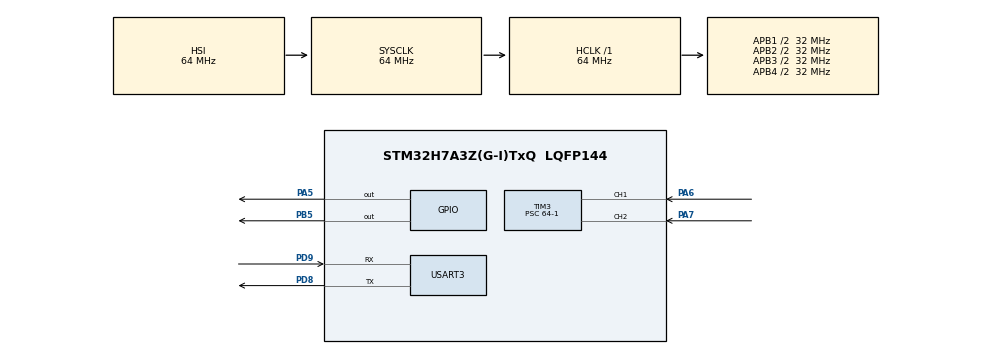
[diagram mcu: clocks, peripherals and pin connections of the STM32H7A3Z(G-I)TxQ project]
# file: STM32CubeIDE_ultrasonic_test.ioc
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Mcu.Family=STM32H7
Mcu.Name=STM32H7A3Z(G-I)TxQ
Mcu.Package=LQFP144
NVIC.PriorityGroup=NVIC_PRIORITYGROUP_4
NVIC.TIM3_IRQn=true\:0\:0\:false\:false\:true\:true\:true
PA5.Signal=GPIO_Output
PA6.Signal=S_TIM3_CH1
PA7.Signal=S_TIM3_CH2
PB5.Signal=GPIO_Output
PD8.Mode=Asynchronous
PD8.Signal=USART3_TX
PD9.Mode=Asynchronous
PD9.Signal=USART3_RX
PH0-OSC_IN.Mode=HSE-External-Oscillator
PH0-OSC_IN.Signal=RCC_OSC_IN
PH1-OSC_OUT.Mode=HSE-External-Oscillator
PH1-OSC_OUT.Signal=RCC_OSC_OUT
ProjectManager.HeapSize=0x200
ProjectManager.StackSize=0x400
ProjectManager.TargetToolchain=STM32CubeIDE
RCC.ADCFreq_Value=129000000
RCC.APB1Freq_Value=32000000
RCC.APB2Freq_Value=32000000
RCC.APB3Freq_Value=32000000
RCC.APB4Freq_Value=32000000
RCC.CDPPRE=RCC_APB3_DIV2
RCC.CDPPRE1=RCC_APB1_DIV2
RCC.CDPPRE2=RCC_APB2_DIV2
RCC.CortexFreq_Value=64000000
RCC.HCLKFreq_Value=64000000
RCC.SRDPPRE=RCC_APB4_DIV2
RCC.SYSCLKFreq_VALUE=64000000
RCC.USBFreq_Value=129000000
SH.S_TIM3_CH1.0=TIM3_CH1,Input_Capture1_from_TI1
SH.S_TIM3_CH2.0=TIM3_CH2,Input_Capture2_from_TI2
TIM3.Channel-Input_Capture1_from_TI1=TIM_CHANNEL_1
TIM3.Channel-Input_Capture2_from_TI2=TIM_CHANNEL_2
TIM3.Period=0xffff-1
TIM3.Prescaler=64-1
USART3.VirtualMode-Asynchronous=VM_ASYNC
VP_TIM3_VS_ClockSourceINT.Mode=Internal
board=custom

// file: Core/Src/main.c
/* USER CODE BEGIN Header */
/**
  ******************************************************************************
  * @file           : main.c
  * @brief          : Main program body
  ******************************************************************************
  * @attention
  *
  * Copyright (c) 2023 STMicroelectronics.
  * All rights reserved.
  *
  * This software is licensed under terms that can be found in the LICENSE file
  * in the root directory of this software component.
  * If no LICENSE file comes with this software, it is provided AS-IS.
  *
  ******************************************************************************
  */
/* USER CODE END Header */
#include "main.h"
#include "tim.h"
#include "usart.h"
#include "gpio.h"

/* USER CODE BEGIN Includes */
#include <stdio.h>
/* USER CODE END Includes */

/* USER CODE BEGIN PD */
#define TRIG_PIN1 GPIO_PIN_5
#define TRIG_PORT1 GPIOA

#define TRIG_PIN2 GPIO_PIN_5
#define TRIG_PORT2 GPIOB
/* USER CODE END PD */

/* USER CODE BEGIN PM */
#ifdef __GNUC__
  /* With GCC, small printf (option LD Linker->Libraries->Small printf
     set to 'Yes') calls __io_putchar() */
  #define PUTCHAR_PROTOTYPE int __io_putchar(int ch)
#else
  #define PUTCHAR_PROTOTYPE int fputc(int ch, FILE *f)
#endif /* __GNUC__ */

PUTCHAR_PROTOTYPE
{
  /* Place your implementation of fputc here */
  /* e.g. write a character to the EVAL_COM1 and Loop until the end of transmission */
  HAL_UART_Transmit(&huart3, (uint8_t *)&ch, 1, 0xFFFF);

  return ch;
}
/* USER CODE END PM */

/* USER CODE BEGIN PV */
uint32_t IC_Val1_1 = 0;
uint32_t IC_Val1_2 = 0;
uint32_t Difference1 = 0;
uint8_t Is_First_Captured1 = 0;  // is the first value captured ?
uint8_t Distance1  = 0;

uint32_t IC_Val2_1 = 0;
uint32_t IC_Val2_2 = 0;
uint32_t Difference2 = 0;
uint8_t Is_First_Captured2 = 0;  // is the first value captured ?
uint8_t Distance2  = 0;
/* USER CODE END PV */

void SystemClock_Config(void);
/* USER CODE BEGIN PFP */
void delay (uint16_t time)
{
	__HAL_TIM_SET_COUNTER(&htim3, 0);
	while (__HAL_TIM_GET_COUNTER (&htim3) < time);
}

void HAL_TIM_IC_CaptureCallback1(TIM_HandleTypeDef *htim)
{
	if (htim->Channel == HAL_TIM_ACTIVE_CHANNEL_1)  // if the interrupt source is channel1
	{
		if (Is_First_Captured1==0) // if the first value is not captured
		{
			IC_Val1_1 = HAL_TIM_ReadCapturedValue(htim, TIM_CHANNEL_1); // read the first value
			Is_First_Captured1 = 1;  // set the first captured as true
			// Now change the polarity to falling edge
			__HAL_TIM_SET_CAPTUREPOLARITY(htim, TIM_CHANNEL_1, TIM_INPUTCHANNELPOLARITY_FALLING);
		}

		else if (Is_First_Captured1==1)   // if the first is already captured
		{
			IC_Val1_2 = HAL_TIM_ReadCapturedValue(htim, TIM_CHANNEL_1);  // read second value
			__HAL_TIM_SET_COUNTER(htim, 0);  // reset the counter

			if (IC_Val1_2 > IC_Val1_1)
			{
				Difference1 = IC_Val1_2-IC_Val1_1;
			}

			else if (IC_Val1_1 > IC_Val1_2)
			{
				Difference1 = (0xffff - IC_Val1_1) + IC_Val1_2;
			}

			Distance1 = Difference1 * .034/2;
			Is_First_Captured1 = 0; // set it back to false

			// set polarity to rising edge
			__HAL_TIM_SET_CAPTUREPOLARITY(htim, TIM_CHANNEL_1, TIM_INPUTCHANNELPOLARITY_RISING);
			__HAL_TIM_DISABLE_IT(&htim3, TIM_IT_CC1);
		}
	}
}

void HCSR04_Read1 (void)
{
	HAL_GPIO_WritePin(TRIG_PORT1, TRIG_PIN1, GPIO_PIN_SET);  // pull the TRIG pin HIGH
	delay(10);  // wait for 10 us
	HAL_GPIO_WritePin(TRIG_PORT1, TRIG_PIN1, GPIO_PIN_RESET);  // pull the TRIG pin low

	__HAL_TIM_ENABLE_IT(&htim3, TIM_IT_CC1);
}

////////////////////////////////////////////////////////////////////////////////////////////////////////////////////////////

void HAL_TIM_IC_CaptureCallback2(TIM_HandleTypeDef *htim)
{
	if (htim->Channel == HAL_TIM_ACTIVE_CHANNEL_2)  // if the interrupt source is channel1
	{
		if (Is_First_Captured2==0) // if the first value is not captured
		{
			IC_Val2_1 = HAL_TIM_ReadCapturedValue(htim, TIM_CHANNEL_1); // read the first value
			Is_First_Captured2 = 1;  // set the first captured as true
			// Now change the polarity to falling edge
			__HAL_TIM_SET_CAPTUREPOLARITY(htim, TIM_CHANNEL_1, TIM_INPUTCHANNELPOLARITY_FALLING);
		}

		else if (Is_First_Captured1==1)   // if the first is already captured
		{
			IC_Val2_2 = HAL_TIM_ReadCapturedValue(htim, TIM_CHANNEL_1);  // read second value
			__HAL_TIM_SET_COUNTER(htim, 0);  // reset the counter

			if (IC_Val2_2 > IC_Val2_1)
			{
				Difference2 = IC_Val2_2-IC_Val2_1;
			}

			else if (IC_Val2_1 > IC_Val2_2)
			{
				Difference2 = (0xffff - IC_Val2_1) + IC_Val2_2;
			}

			Distance2 = Difference2 * .034/2;
			Is_First_Captured1 = 0; // set it back to false

			// set polarity to rising edge
			__HAL_TIM_SET_CAPTUREPOLARITY(htim, TIM_CHANNEL_2, TIM_INPUTCHANNELPOLARITY_RISING);
			__HAL_TIM_DISABLE_IT(&htim3, TIM_IT_CC1);
		}
	}
}

void HCSR04_Read2 (void)
{
	HAL_GPIO_WritePin(TRIG_PORT2, TRIG_PIN2, GPIO_PIN_SET);  // pull the TRIG pin HIGH
	delay(10);  // wait for 10 us
	HAL_GPIO_WritePin(TRIG_PORT2, TRIG_PIN2, GPIO_PIN_RESET);  // pull the TRIG pin low

	__HAL_TIM_ENABLE_IT(&htim3, TIM_IT_CC1);
}
/* USER CODE END PFP */

int main(void)
{

  /* MCU Configuration--------------------------------------------------------*/

  /* Reset of all peripherals, Initializes the Flash interface and the Systick. */
  HAL_Init();

  /* Configure the system clock */
  SystemClock_Config();

  /* Initialize all configured peripherals */
  MX_GPIO_Init();
  MX_TIM3_Init();
  MX_USART3_UART_Init();
  /* USER CODE BEGIN 2 */
  HAL_TIM_IC_Start_IT(&htim3, TIM_CHANNEL_1);
  HAL_TIM_IC_Start_IT(&htim3, TIM_CHANNEL_2);
  /* USER CODE END 2 */

  /* Infinite loop */
  /* USER CODE BEGIN WHILE */
  while (1)
  {
	  HCSR04_Read1();
	  HCSR04_Read2();
	  printf("%d cm\r\n",Distance1);
	  printf("%d cm\r\n",Distance2);
	  HAL_Delay(200);
    /* USER CODE END WHILE */

  }
}

void SystemClock_Config(void)
{
  RCC_OscInitTypeDef RCC_OscInitStruct = {0};
  RCC_ClkInitTypeDef RCC_ClkInitStruct = {0};

  /** Supply configuration update enable
  */
  HAL_PWREx_ConfigSupply(PWR_DIRECT_SMPS_SUPPLY);
  /** Configure the main internal regulator output voltage
  */
  __HAL_PWR_VOLTAGESCALING_CONFIG(PWR_REGULATOR_VOLTAGE_SCALE3);

  while(!__HAL_PWR_GET_FLAG(PWR_FLAG_VOSRDY)) {}
  /** Initializes the RCC Oscillators according to the specified parameters
  * in the RCC_OscInitTypeDef structure.
  */
  RCC_OscInitStruct.OscillatorType = RCC_OSCILLATORTYPE_HSI;
  RCC_OscInitStruct.HSIState = RCC_HSI_DIV1;
  RCC_OscInitStruct.HSICalibrationValue = RCC_HSICALIBRATION_DEFAULT;
  RCC_OscInitStruct.PLL.PLLState = RCC_PLL_NONE;
  if (HAL_RCC_OscConfig(&RCC_OscInitStruct) != HAL_OK)
  {
    Error_Handler();
  }
  /** Initializes the CPU, AHB and APB buses clocks
  */
  RCC_ClkInitStruct.ClockType = RCC_CLOCKTYPE_HCLK|RCC_CLOCKTYPE_SYSCLK
                              |RCC_CLOCKTYPE_PCLK1|RCC_CLOCKTYPE_PCLK2
                              |RCC_CLOCKTYPE_D3PCLK1|RCC_CLOCKTYPE_D1PCLK1;
  RCC_ClkInitStruct.SYSCLKSource = RCC_SYSCLKSOURCE_HSI;
  RCC_ClkInitStruct.SYSCLKDivider = RCC_SYSCLK_DIV1;
  RCC_ClkInitStruct.AHBCLKDivider = RCC_HCLK_DIV1;
  RCC_ClkInitStruct.APB3CLKDivider = RCC_APB3_DIV2;
  RCC_ClkInitStruct.APB1CLKDivider = RCC_APB1_DIV2;
  RCC_ClkInitStruct.APB2CLKDivider = RCC_APB2_DIV2;
  RCC_ClkInitStruct.APB4CLKDivider = RCC_APB4_DIV2;

  if (HAL_RCC_ClockConfig(&RCC_ClkInitStruct, FLASH_LATENCY_2) != HAL_OK)
  {
    Error_Handler();
  }
}

void Error_Handler(void)
{
  __disable_irq();
  while (1)
  {
  }
}
